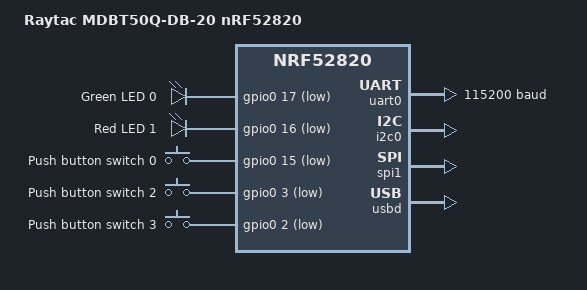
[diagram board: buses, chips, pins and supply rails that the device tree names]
/*
 * Copyright (c) 2022 Raytac Corporation
 *
 * SPDX-License-Identifier: Apache-2.0
 */

/dts-v1/;
#include <nordic/nrf52820_qdaa.dtsi>
#include "raytac_mdbt50q_db_20_nrf52820-pinctrl.dtsi"
#include <zephyr/dt-bindings/input/input-event-codes.h>

/ {
	model = "Raytac MDBT50Q-DB-20 nRF52820";
	compatible = "raytac,raytac-mdbt50q-db-20-nrf52820";

	chosen {
		zephyr,console = &uart0;
		zephyr,shell-uart = &uart0;
		zephyr,uart-mcumgr = &uart0;
		zephyr,bt-mon-uart = &uart0;
		zephyr,bt-c2h-uart = &uart0;
		zephyr,sram = &sram0;
		zephyr,flash = &flash0;
		zephyr,code-partition = &slot0_partition;
	};

	leds {
		compatible = "gpio-leds";
		led0: led_0 {
			gpios = <&gpio0 17 GPIO_ACTIVE_LOW>;
			label = "Green LED 0";
		};
		led1: led_1 {
			gpios = <&gpio0 16 GPIO_ACTIVE_LOW>;
			label = "Red LED 1";
		};
	};

	buttons {
		compatible = "gpio-keys";
		button0: button_0 {
			gpios = <&gpio0 15 (GPIO_PULL_UP | GPIO_ACTIVE_LOW)>;
			label = "Push button switch 0";
			zephyr,code = <INPUT_KEY_0>;
		};
		button2: button_2 {
			gpios = <&gpio0 3 (GPIO_PULL_UP | GPIO_ACTIVE_LOW)>;
			label = "Push button switch 2";
			zephyr,code = <INPUT_KEY_2>;
		};
		button3: button_3 {
			gpios = <&gpio0 2 (GPIO_PULL_UP | GPIO_ACTIVE_LOW)>;
			label = "Push button switch 3";
			zephyr,code = <INPUT_KEY_3>;
		};
	};

	/* These aliases are provided for compatibility with samples */
	aliases {
		led0 = &led0;
		led1 = &led1;
		sw0 = &button0;
		sw2 = &button2;
		sw3 = &button3;
		bootloader-led0 = &led0;
		mcuboot-button0 = &button0;
		mcuboot-led0 = &led0;
		watchdog0 = &wdt0;
	};
};

&uicr {
	gpio-as-nreset;
};

&gpiote {
	status = "okay";
};

&gpio0 {
	status = "okay";
};

&uart0 {
	compatible = "nordic,nrf-uarte";
	status = "okay";
	current-speed = <115200>;
	pinctrl-0 = <&uart0_default>;
	pinctrl-1 = <&uart0_sleep>;
	pinctrl-names = "default", "sleep";
};

&i2c0 {
	compatible = "nordic,nrf-twi";
	status = "okay";
	pinctrl-0 = <&i2c0_default>;
	pinctrl-1 = <&i2c0_sleep>;
	pinctrl-names = "default", "sleep";
};

&spi1 {
	compatible = "nordic,nrf-spi";
	status = "okay";
	pinctrl-0 = <&spi1_default>;
	pinctrl-1 = <&spi1_sleep>;
	pinctrl-names = "default", "sleep";
};

&flash0 {

	partitions {
		compatible = "fixed-partitions";
		#address-cells = <1>;
		#size-cells = <1>;

		boot_partition: partition@0 {
			label = "mcuboot";
			reg = <0x00000000 0xC000>;
		};
		slot0_partition: partition@C000 {
			label = "image-0";
			reg = <0x0000C000 0x17000>;
		};
		slot1_partition: partition@23000 {
			label = "image-1";
			reg = <0x00023000 0x17000>;
		};
		storage_partition: partition@3a000 {
			label = "storage";
			reg = <0x0003a000 0x00006000>;
		};
	};
};

zephyr_udc0: &usbd {
	compatible = "nordic,nrf-usbd";
	status = "okay";
};
